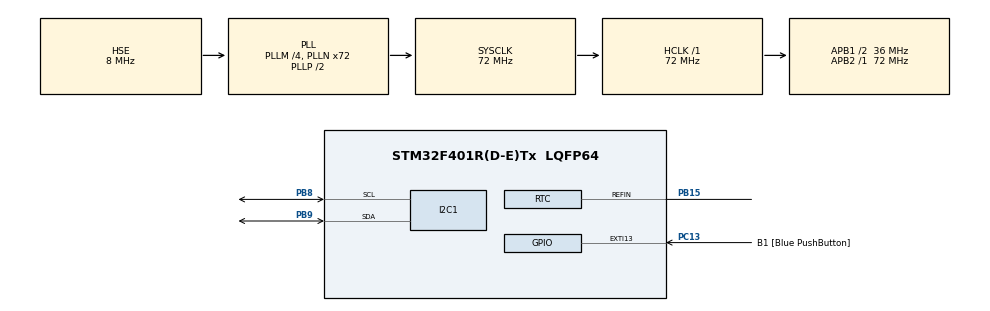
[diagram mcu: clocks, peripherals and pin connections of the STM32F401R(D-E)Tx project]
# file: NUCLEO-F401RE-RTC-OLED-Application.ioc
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I2C1.I2C_Mode=I2C_Fast
Mcu.Family=STM32F4
Mcu.Name=STM32F401R(D-E)Tx
Mcu.Package=LQFP64
NVIC.PriorityGroup=NVIC_PRIORITYGROUP_0
PA13.GPIO_Label=TMS
PA13.Mode=Serial_Wire
PA13.Signal=SYS_JTMS-SWDIO
PA14.GPIO_Label=TCK
PA14.Mode=Serial_Wire
PA14.Signal=SYS_JTCK-SWCLK
PB15.Mode=Reference_Clock_Detection_Activate
PB15.Signal=RTC_REFIN
PB3.GPIO_Label=SWO
PB3.Signal=SYS_JTDO-SWO
PB8.Mode=I2C
PB8.Signal=I2C1_SCL
PB9.Mode=I2C
PB9.Signal=I2C1_SDA
PC13-ANTI_TAMP.GPIO_Label=B1 [Blue PushButton]
PC13-ANTI_TAMP.GPIO_ModeDefaultEXTI=GPIO_MODE_IT_FALLING
PC13-ANTI_TAMP.GPIO_PuPd=GPIO_NOPULL
PC13-ANTI_TAMP.Signal=GPXTI13
PC14-OSC32_IN.Mode=LSE-External-Oscillator
PC14-OSC32_IN.Signal=RCC_OSC32_IN
PC15-OSC32_OUT.Mode=LSE-External-Oscillator
PC15-OSC32_OUT.Signal=RCC_OSC32_OUT
PH0\ -\ OSC_IN.Mode=HSE-External-Clock-Source
PH0\ -\ OSC_IN.Signal=RCC_OSC_IN
PH1\ -\ OSC_OUT.Mode=HSE-External-Clock-Source
PH1\ -\ OSC_OUT.Signal=RCC_OSC_OUT
ProjectManager.HeapSize=0x200
ProjectManager.StackSize=0x400
ProjectManager.TargetToolchain=SW4STM32
RCC.48MHZClocksFreq_Value=20571428.57142857
RCC.AHBFreq_Value=72000000
RCC.APB1CLKDivider=RCC_HCLK_DIV2
RCC.APB1Freq_Value=36000000
RCC.APB1TimFreq_Value=72000000
RCC.APB2Freq_Value=72000000
RCC.APB2TimFreq_Value=72000000
RCC.CortexFreq_Value=72000000
RCC.HCLKFreq_Value=72000000
RCC.HSE_VALUE=8000000
RCC.HSI_VALUE=16000000
RCC.PLLM=4
RCC.PLLN=72
RCC.PLLQ=7
RCC.PLLSourceVirtual=RCC_PLLSOURCE_HSE
RCC.RCC_RTC_Clock_Source=RCC_RTCCLKSOURCE_LSE
RCC.RCC_RTC_Clock_SourceVirtual=RCC_RTCCLKSOURCE_LSE
RCC.SYSCLKFreq_VALUE=72000000
RCC.SYSCLKSource=RCC_SYSCLKSOURCE_PLLCLK
RCC.VCOOutputFreq_Value=144000000
RTC.Format=RTC_FORMAT_BIN
VP_RTC_VS_RTC_Activate.Mode=RTC_Enabled
VP_RTC_VS_RTC_Calendar.Mode=RTC_Calendar
board=NUCLEO-F401RE

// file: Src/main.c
/* USER CODE BEGIN Header */
/**
  ******************************************************************************
  * @file           : main.c
  * @brief          : Main program body
  ******************************************************************************
  * @attention
  *
  * <h2><center>&copy; Copyright (c) 2020 STMicroelectronics.
  * All rights reserved.</center></h2>
  *
  * This software component is licensed by ST under BSD 3-Clause license,
  * the "License"; You may not use this file except in compliance with the
  * License. You may obtain a copy of the License at:
  *                        opensource.org/licenses/BSD-3-Clause
  *
  * Copyright (C) Guilherme Amorim, <guilherme.vini65@gmail.com>, 2020
  * Copyright (C) Renan Guedes, <rbguedes1998@gmail.com>, 2020
  *
  * University: UFMG
  *
  * This API was developed as a work in the discipline of Embedded
  * Systems Programming at UFMG - Prof. Ricardo de Oliveira Duarte -
  * Department of Electronic Engineering
  *
  ******************************************************************************
  */
/* USER CODE END Header */
#include "main.h"

/* USER CODE BEGIN Includes */
#include <stdio.h>
#include <string.h>
#include "ssd1306.h"
#include "fonts.h"
#include "stm32f4xx_hal_rtc.h"
#define RTC_AUTO_1_SECOND                   0xFFFFFFFFU
#define RTC_OUTPUTSOURCE_NONE               0x00000000U
/* USER CODE END Includes */

I2C_HandleTypeDef hi2c1;

RTC_HandleTypeDef hrtc;

/* USER CODE BEGIN PV */
RTC_HandleTypeDef rtcHandle;
RTC_TimeTypeDef currentTime;
RTC_DateTypeDef currentDate;
/* USER CODE END PV */

void SystemClock_Config(void);
static void MX_GPIO_Init(void);
static void MX_I2C1_Init(void);
static void MX_RTC_Init(void);

/* USER CODE BEGIN 0 */
void RTC_Config(void);
void RTC_TimeDate_Config(void);
/* USER CODE END 0 */

int main(void)
{
  /* USER CODE BEGIN 1 */
	char data[30];
	char horario[30];
  /* USER CODE END 1 */

  /* MCU Configuration--------------------------------------------------------*/

  /* Reset of all peripherals, Initializes the Flash interface and the Systick. */
  HAL_Init();

  /* Configure the system clock */
  SystemClock_Config();

  /* Initialize all configured peripherals */
  MX_GPIO_Init();
  MX_I2C1_Init();
  MX_RTC_Init();
  /* USER CODE BEGIN 2 */
  SSD1306_Init();  // initialize
  // RTC initialization
  RTC_Config();
  // Time and date configuration
  RTC_TimeDate_Config();
  /* USER CODE END 2 */

  /* Infinite loop */
  while (1)
  {
	HAL_RTC_GetTime(&rtcHandle, &currentTime, RTC_FORMAT_BIN);
	HAL_RTC_GetDate(&rtcHandle, &currentDate, RTC_FORMAT_BIN);

	/* Print current date and time (date time format: yyyy-MM-dd hh:mm:ss)*/
	sprintf(data, "%0*i-%0*i-20%i", 2, currentDate.Date, 2, currentDate.Month, currentDate.Year);
	SSD1306_GotoXY (0,0);
	SSD1306_Puts (data, &Font_11x18, 1);
	SSD1306_UpdateScreen(); // update display

	sprintf(horario, "H:%0*i:%0*i:%0*i", 2, currentTime.Hours, 2, currentTime.Minutes, 2, currentTime.Seconds);
	SSD1306_GotoXY (0,30);
	SSD1306_Puts (horario, &Font_11x18, 1);
	SSD1306_UpdateScreen(); // update display
	HAL_Delay(1000);
  }
}

void SystemClock_Config(void)
{
  RCC_OscInitTypeDef RCC_OscInitStruct = {0};
  RCC_ClkInitTypeDef RCC_ClkInitStruct = {0};
  RCC_PeriphCLKInitTypeDef PeriphClkInitStruct = {0};

  /** Configure the main internal regulator output voltage
  */
  __HAL_RCC_PWR_CLK_ENABLE();
  __HAL_PWR_VOLTAGESCALING_CONFIG(PWR_REGULATOR_VOLTAGE_SCALE2);
  /** Initializes the RCC Oscillators according to the specified parameters
  * in the RCC_OscInitTypeDef structure.
  */
  RCC_OscInitStruct.OscillatorType = RCC_OSCILLATORTYPE_HSE|RCC_OSCILLATORTYPE_LSE;
  RCC_OscInitStruct.HSEState = RCC_HSE_BYPASS;
  RCC_OscInitStruct.LSEState = RCC_LSE_ON;
  RCC_OscInitStruct.PLL.PLLState = RCC_PLL_ON;
  RCC_OscInitStruct.PLL.PLLSource = RCC_PLLSOURCE_HSE;
  RCC_OscInitStruct.PLL.PLLM = 4;
  RCC_OscInitStruct.PLL.PLLN = 72;
  RCC_OscInitStruct.PLL.PLLP = RCC_PLLP_DIV2;
  RCC_OscInitStruct.PLL.PLLQ = 7;
  if (HAL_RCC_OscConfig(&RCC_OscInitStruct) != HAL_OK)
  {
    Error_Handler();
  }
  /** Initializes the CPU, AHB and APB buses clocks
  */
  RCC_ClkInitStruct.ClockType = RCC_CLOCKTYPE_HCLK|RCC_CLOCKTYPE_SYSCLK
                              |RCC_CLOCKTYPE_PCLK1|RCC_CLOCKTYPE_PCLK2;
  RCC_ClkInitStruct.SYSCLKSource = RCC_SYSCLKSOURCE_PLLCLK;
  RCC_ClkInitStruct.AHBCLKDivider = RCC_SYSCLK_DIV1;
  RCC_ClkInitStruct.APB1CLKDivider = RCC_HCLK_DIV2;
  RCC_ClkInitStruct.APB2CLKDivider = RCC_HCLK_DIV1;

  if (HAL_RCC_ClockConfig(&RCC_ClkInitStruct, FLASH_LATENCY_2) != HAL_OK)
  {
    Error_Handler();
  }
  PeriphClkInitStruct.PeriphClockSelection = RCC_PERIPHCLK_RTC;
  PeriphClkInitStruct.RTCClockSelection = RCC_RTCCLKSOURCE_LSE;
  if (HAL_RCCEx_PeriphCLKConfig(&PeriphClkInitStruct) != HAL_OK)
  {
    Error_Handler();
  }
}

static void MX_I2C1_Init(void)
{

  hi2c1.Instance = I2C1;
  hi2c1.Init.ClockSpeed = 400000;
  hi2c1.Init.DutyCycle = I2C_DUTYCYCLE_2;
  hi2c1.Init.OwnAddress1 = 0;
  hi2c1.Init.AddressingMode = I2C_ADDRESSINGMODE_7BIT;
  hi2c1.Init.DualAddressMode = I2C_DUALADDRESS_DISABLE;
  hi2c1.Init.OwnAddress2 = 0;
  hi2c1.Init.GeneralCallMode = I2C_GENERALCALL_DISABLE;
  hi2c1.Init.NoStretchMode = I2C_NOSTRETCH_DISABLE;
  if (HAL_I2C_Init(&hi2c1) != HAL_OK)
  {
    Error_Handler();
  }

}

static void MX_RTC_Init(void)
{

  RTC_TimeTypeDef sTime = {0};
  RTC_DateTypeDef sDate = {0};

  /** Initialize RTC Only
  */
  hrtc.Instance = RTC;
  hrtc.Init.HourFormat = RTC_HOURFORMAT_24;
  hrtc.Init.AsynchPrediv = 127;
  hrtc.Init.SynchPrediv = 255;
  hrtc.Init.OutPut = RTC_OUTPUT_DISABLE;
  hrtc.Init.OutPutPolarity = RTC_OUTPUT_POLARITY_HIGH;
  hrtc.Init.OutPutType = RTC_OUTPUT_TYPE_OPENDRAIN;
  if (HAL_RTC_Init(&hrtc) != HAL_OK)
  {
    Error_Handler();
  }

  /** Initialize RTC and set the Time and Date
  */
  sTime.Hours = 0;
  sTime.Minutes = 0;
  sTime.Seconds = 0;
  sTime.DayLightSaving = RTC_DAYLIGHTSAVING_NONE;
  sTime.StoreOperation = RTC_STOREOPERATION_RESET;
  if (HAL_RTC_SetTime(&hrtc, &sTime, RTC_FORMAT_BIN) != HAL_OK)
  {
    Error_Handler();
  }
  sDate.WeekDay = RTC_WEEKDAY_MONDAY;
  sDate.Month = RTC_MONTH_JANUARY;
  sDate.Date = 1;
  sDate.Year = 0;

  if (HAL_RTC_SetDate(&hrtc, &sDate, RTC_FORMAT_BIN) != HAL_OK)
  {
    Error_Handler();
  }

}

static void MX_GPIO_Init(void)
{
  GPIO_InitTypeDef GPIO_InitStruct = {0};

  /* GPIO Ports Clock Enable */
  __HAL_RCC_GPIOC_CLK_ENABLE();
  __HAL_RCC_GPIOH_CLK_ENABLE();
  __HAL_RCC_GPIOA_CLK_ENABLE();
  __HAL_RCC_GPIOB_CLK_ENABLE();

  /*Configure GPIO pin : B1_Pin */
  GPIO_InitStruct.Pin = B1_Pin;
  GPIO_InitStruct.Mode = GPIO_MODE_IT_FALLING;
  GPIO_InitStruct.Pull = GPIO_NOPULL;
  HAL_GPIO_Init(B1_GPIO_Port, &GPIO_InitStruct);

}

/* USER CODE BEGIN 4 */
/**
  * @brief  RTC configuration
  * @param  None
  * @retval None
  */
void RTC_Config(void)
{
	/*## STEP 1: Configure RTC ###############################################*/
	rtcHandle.Instance          = RTC;
	rtcHandle.Init.SynchPrediv  = 255;
	rtcHandle.Init.AsynchPrediv = RTC_AUTO_1_SECOND;
	rtcHandle.Init.OutPut       = RTC_OUTPUTSOURCE_NONE;
	if (HAL_RTC_Init(&rtcHandle) != HAL_OK)
	{
		Error_Handler();
	}
}

/**
  * @brief  Time and date configuration
  * @param  None
  * @retval None
  */
void RTC_TimeDate_Config(void)
{
	RTC_TimeTypeDef rtcTimeStruct;
	RTC_DateTypeDef rtcDateStruct;

	/*## STEP 1: Configure time ##############################################*/
	/* Set time: 23:59:55 */
	rtcTimeStruct.Hours   = 0x20;
	rtcTimeStruct.Minutes = 0x44;
	rtcTimeStruct.Seconds = 0x00;
	if (HAL_RTC_SetTime(&rtcHandle, &rtcTimeStruct, RTC_FORMAT_BCD) != HAL_OK)
	{
		Error_Handler();
	}

	/*## STEP 2: Configure date ##############################################*/
	/* Set date: 29/10/2020 */
	rtcDateStruct.Year    = 0x20;
	rtcDateStruct.Month   = RTC_MONTH_OCTOBER;
	rtcDateStruct.Date    = 0x30;
	rtcDateStruct.WeekDay = RTC_WEEKDAY_FRIDAY;
	if(HAL_RTC_SetDate(&rtcHandle, &rtcDateStruct, RTC_FORMAT_BCD) != HAL_OK)
	{
		Error_Handler();
	}
}
/* USER CODE END 4 */

void Error_Handler(void)
{
}

/************************ (C) COPYRIGHT STMicroelectronics *****END OF FILE****/
